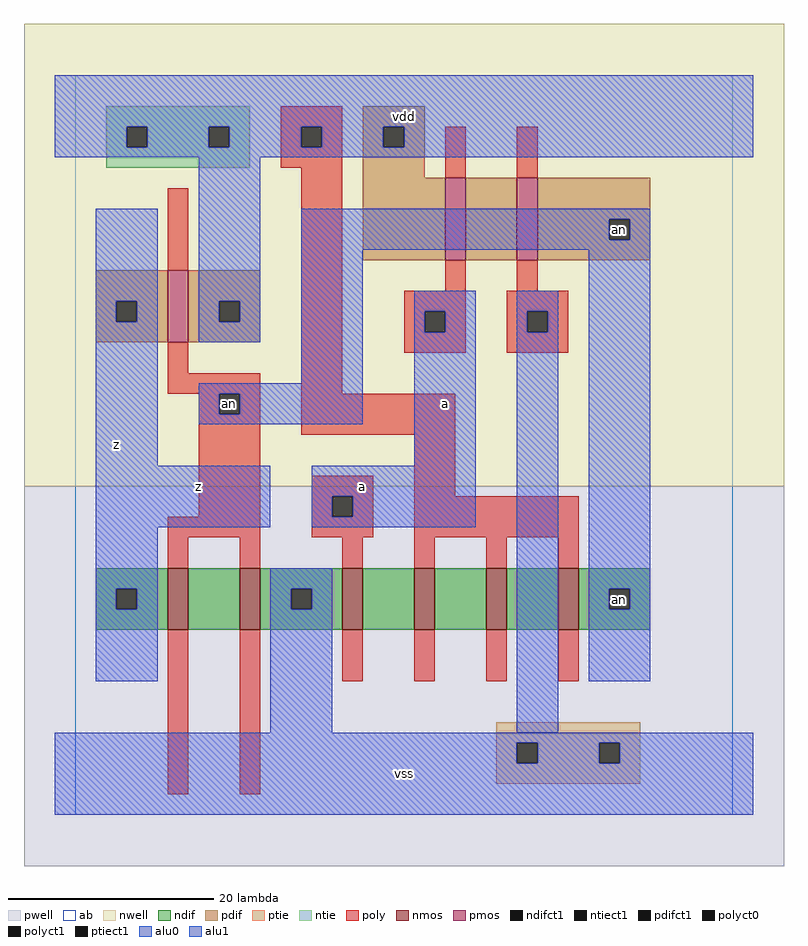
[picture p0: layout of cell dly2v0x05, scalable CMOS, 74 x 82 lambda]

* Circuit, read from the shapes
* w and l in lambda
.subckt dly2v0x05 a an vdd vss z
M1 n1 an z vss nfet w=6 l=2
M2 vss an n1 vss nfet w=6 l=2
M3 n2 a vss vss nfet w=6 l=2
M4 n3 vdd n2 vss nfet w=6 l=2
M5 n4 vdd n3 vss nfet w=6 l=2
M6 an vdd n4 vss nfet w=6 l=2
M7 vdd an z vdd pfet w=7 l=2
M8 n5 a vdd vdd pfet w=8 l=2
M9 an vss n5 vdd pfet w=8 l=2
.ends

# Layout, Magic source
magic
tech scmos
<< ab >>
rect 0 0 64 72
<< nwell >>
rect -5 32 69 77
<< pwell >>
rect -5 -5 69 32
<< poly >>
rect 20 67 26 69
rect 20 65 22 67
rect 24 65 26 67
rect 20 63 26 65
rect 9 53 11 61
rect 9 43 11 46
rect 9 41 18 43
rect 12 39 14 41
rect 16 39 18 41
rect 12 29 18 39
rect 22 41 26 63
rect 36 62 38 67
rect 43 62 45 67
rect 36 51 38 54
rect 43 51 45 54
rect 32 49 38 51
rect 32 47 34 49
rect 36 47 38 49
rect 32 45 38 47
rect 42 49 48 51
rect 42 47 44 49
rect 46 47 48 49
rect 42 45 48 47
rect 22 37 37 41
rect 9 27 18 29
rect 23 31 29 33
rect 23 29 25 31
rect 27 29 29 31
rect 23 27 29 29
rect 33 31 37 37
rect 33 27 49 31
rect 9 24 11 27
rect 16 24 18 27
rect 26 24 28 27
rect 33 24 35 27
rect 40 24 42 27
rect 47 24 49 27
rect 9 2 11 18
rect 16 2 18 18
rect 26 13 28 18
rect 33 13 35 18
rect 40 13 42 18
rect 47 13 49 18
<< ndif >>
rect 2 22 9 24
rect 2 20 4 22
rect 6 20 9 22
rect 2 18 9 20
rect 11 18 16 24
rect 18 22 26 24
rect 18 20 21 22
rect 23 20 26 22
rect 18 18 26 20
rect 28 18 33 24
rect 35 18 40 24
rect 42 18 47 24
rect 49 22 56 24
rect 49 20 52 22
rect 54 20 56 22
rect 49 18 56 20
<< pdif >>
rect 2 50 9 53
rect 2 48 4 50
rect 6 48 9 50
rect 2 46 9 48
rect 11 50 18 53
rect 11 48 14 50
rect 16 48 18 50
rect 11 46 18 48
rect 28 67 34 69
rect 28 65 30 67
rect 32 65 34 67
rect 28 62 34 65
rect 28 54 36 62
rect 38 54 43 62
rect 45 58 56 62
rect 45 56 52 58
rect 54 56 56 58
rect 45 54 56 56
<< alu1 >>
rect -2 67 66 72
rect -2 65 5 67
rect 7 65 13 67
rect 15 65 22 67
rect 24 65 30 67
rect 32 65 66 67
rect -2 64 66 65
rect 2 50 8 59
rect 2 48 4 50
rect 6 48 8 50
rect 2 34 8 48
rect 12 50 18 64
rect 12 48 14 50
rect 16 48 18 50
rect 12 46 18 48
rect 22 58 56 59
rect 22 56 52 58
rect 54 56 56 58
rect 22 55 56 56
rect 22 42 28 55
rect 12 41 28 42
rect 12 39 14 41
rect 16 39 28 41
rect 12 38 28 39
rect 33 49 39 51
rect 33 47 34 49
rect 36 47 39 49
rect 33 34 39 47
rect 2 28 19 34
rect 23 31 39 34
rect 23 29 25 31
rect 27 29 39 31
rect 23 28 39 29
rect 2 22 8 28
rect 2 20 4 22
rect 6 20 8 22
rect 2 13 8 20
rect 19 22 25 24
rect 19 20 21 22
rect 23 20 25 22
rect 19 8 25 20
rect 50 22 56 55
rect 50 20 52 22
rect 54 20 56 22
rect 50 13 56 20
rect -2 7 66 8
rect -2 5 43 7
rect 45 5 51 7
rect 53 5 66 7
rect -2 0 66 5
<< ptie >>
rect 41 7 55 9
rect 41 5 43 7
rect 45 5 51 7
rect 53 5 55 7
rect 41 3 55 5
<< ntie >>
rect 3 67 17 69
rect 3 65 5 67
rect 7 65 13 67
rect 15 65 17 67
rect 3 63 17 65
<< nmos >>
rect 9 18 11 24
rect 16 18 18 24
rect 26 18 28 24
rect 33 18 35 24
rect 40 18 42 24
rect 47 18 49 24
<< pmos >>
rect 9 46 11 53
rect 36 54 38 62
rect 43 54 45 62
<< polyct0 >>
rect 44 47 46 49
<< polyct1 >>
rect 22 65 24 67
rect 14 39 16 41
rect 34 47 36 49
rect 25 29 27 31
<< ndifct1 >>
rect 4 20 6 22
rect 21 20 23 22
rect 52 20 54 22
<< ntiect1 >>
rect 5 65 7 67
rect 13 65 15 67
<< ptiect1 >>
rect 43 5 45 7
rect 51 5 53 7
<< pdifct1 >>
rect 4 48 6 50
rect 14 48 16 50
rect 30 65 32 67
rect 52 56 54 58
<< alu0 >>
rect 43 49 47 51
rect 43 47 44 49
rect 46 47 47 49
rect 43 8 47 47
<< labels >>
rlabel polyct1 15 40 15 40 6 an
rlabel ndifct1 53 21 53 21 6 an
rlabel pdifct1 53 57 53 57 6 an
rlabel alu1 12 32 12 32 6 z
rlabel alu1 4 36 4 36 6 z
rlabel alu1 28 32 28 32 6 a
rlabel alu1 32 4 32 4 6 vss
rlabel alu1 36 40 36 40 6 a
rlabel alu1 32 68 32 68 6 vdd
<< end >>
